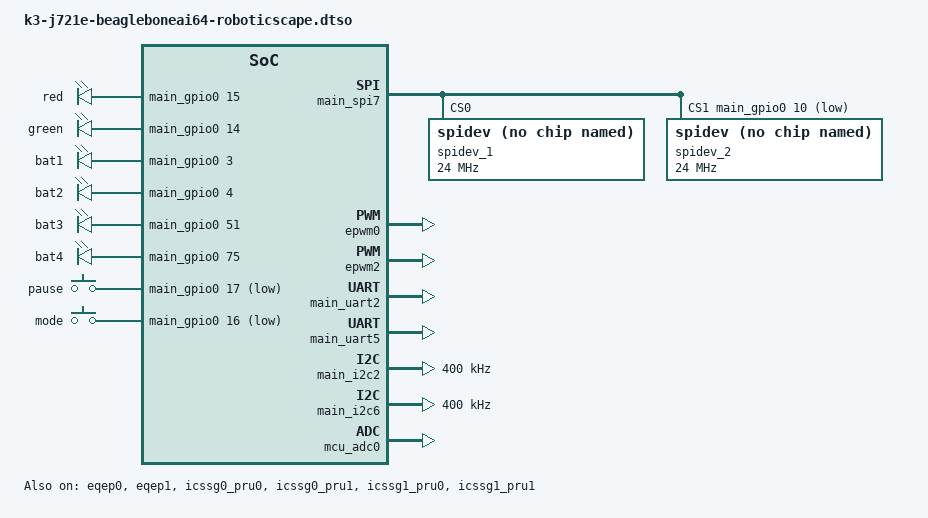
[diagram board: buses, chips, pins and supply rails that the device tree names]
/dts-v1/;
/plugin/;

#include <dt-bindings/pinctrl/k3.h>
#include <dt-bindings/gpio/gpio.h>
#include <dt-bindings/input/input.h>

/ {
    /* 1. LED SUBSYSTEM (adds pins to /sys/class/leds/) */
    cape_leds {
        compatible = "gpio-leds";
        pinctrl-names = "default";
        pinctrl-0 = <&cape_led_pins>;

        led_red {
            label = "red";
            gpios = <&main_gpio0 15 GPIO_ACTIVE_HIGH>; /* P8_7 */
            default-state = "off";
        };
        led_grn {
            label = "green";
            gpios = <&main_gpio0 14 GPIO_ACTIVE_HIGH>; /* P8_8 */
            default-state = "off";
        };
        led_bat1 {
            label = "bat1";
            gpios = <&main_gpio0 3 GPIO_ACTIVE_HIGH>; /* P8_17 */
            default-state = "off";
        };
        led_bat2 {
            label = "bat2";
            gpios = <&main_gpio0 4 GPIO_ACTIVE_HIGH>; /* P8_18 */
            default-state = "off";
        };
        led_bat3 {
            label = "bat3";
            gpios = <&main_gpio0 51 GPIO_ACTIVE_HIGH>; /* P8_26 */
            default-state = "off";
        };
        led_bat4 {
            label = "bat4";
            gpios = <&main_gpio0 75 GPIO_ACTIVE_HIGH>; /* P8_14 */
            default-state = "off";
        };
    };

    /* 2. BUTTONS SUBSYSTEM (Handles pins as keys) */
    cape_buttons {
        compatible = "gpio-keys";
        pinctrl-names = "default";
        pinctrl-0 = <&cape_btn_pins>;

        pause_btn {
            label = "pause";
            linux,code = <KEY_PAUSE>;
            gpios = <&main_gpio0 17 GPIO_ACTIVE_LOW>; /* P8_9 */
        };
        mode_btn {
            label = "mode";
            linux,code = <KEY_MODE>;
            gpios = <&main_gpio0 16 GPIO_ACTIVE_LOW>; /* P8_10 */
        };
    };
};

/* 3. PIN MULTIPLEXER (PINMUX) */
&main_pmx0 {
    /* LED mapping */
    cape_led_pins: cape-led-pins {
        pinctrl-single,pins = <
            J721E_IOPAD(0x03C, PIN_OUTPUT, 7) /* P8_7  (GPIO0_15) */
            J721E_IOPAD(0x038, PIN_OUTPUT, 7) /* P8_8  (GPIO0_14) */
            J721E_IOPAD(0x130, PIN_OUTPUT, 7) /* P8_14 (GPIO0_75) */
            J721E_IOPAD(0x00C, PIN_OUTPUT, 7) /* P8_17 (GPIO0_3)  */
            J721E_IOPAD(0x010, PIN_OUTPUT, 7) /* P8_18 (GPIO0_4)  */
            J721E_IOPAD(0x0D0, PIN_OUTPUT, 7) /* P8_26 (GPIO0_51) */
        >;
    };

    /* Button mapping */
    cape_btn_pins: cape-btn-pins {
        pinctrl-single,pins = <
            J721E_IOPAD(0x044, PIN_INPUT_PULLUP, 7) /* P8_9  (GPIO0_17) */
            J721E_IOPAD(0x040, PIN_INPUT_PULLUP, 7) /* P8_10 (GPIO0_16) */
        >;
    };

    /* SPI7 bus mapping (includes GPIO chip select) */
    cape_spi7_pins: cape-spi7-pins {
        pinctrl-single,pins = <
            J721E_IOPAD(0x230, PIN_OUTPUT, 6) /* P9_28: SPI7_CS0 */
            J721E_IOPAD(0x23C, PIN_INPUT,  6) /* P9_29: SPI7_D1 (MISO) */
            J721E_IOPAD(0x238, PIN_OUTPUT, 6) /* P9_30: SPI7_D0 (MOSI) */
            J721E_IOPAD(0x234, PIN_OUTPUT, 6) /* P9_31: SPI7_CLK */
            J721E_IOPAD(0x028, PIN_OUTPUT, 7) /* P9_23: GPIO0_10 (Soft CS2) */
        >;
    };
    
    /* PWM mapping */
    cape_epwm0_pins: cape-epwm0-pins {
        pinctrl-single,pins = <
            J721E_IOPAD(0x164, PIN_OUTPUT, 6) /* P8_19: EHRPWM0_A */
            J721E_IOPAD(0x168, PIN_OUTPUT, 6) /* P8_13: EHRPWM0_B */
        >;
    };

    cape_epwm2_pins: cape-epwm2-pins {
        pinctrl-single,pins = <
            J721E_IOPAD(0x178, PIN_OUTPUT, 6) /* P9_14: EHRPWM2_A */
            J721E_IOPAD(0x17C, PIN_OUTPUT, 6) /* P9_16: EHRPWM2_B */
        >;
    };

    /* EQEP mapping */
    cape_eqep0_pins: cape-eqep0-pins {
        pinctrl-single,pins = <
            J721E_IOPAD(0x1F0, PIN_INPUT,  5) /* P9_42: EQEP0_A */
            J721E_IOPAD(0x1F4, PIN_INPUT,  5) /* P9_27: EQEP0_B */
        >;
    };

    cape_eqep1_pins: cape-eqep1-pins {
        pinctrl-single,pins = <
            J721E_IOPAD(0x064, PIN_INPUT,  9) /* P8_35: EQEP1_A */
            J721E_IOPAD(0x068, PIN_INPUT,  9) /* P8_33: EQEP1_B */
        >;
    };

    /* UART2 bus mapping (connected to UART1 connector of the robotics cape) */
    cape_uart2_pins: cape-uart2-pins {
        pinctrl-single,pins = <
            J721E_IOPAD(0x1E0, PIN_OUTPUT, 3) /* P9_24: UART2_TXD */
            J721E_IOPAD(0x1DC, PIN_INPUT,  3) /* P9_26: UART2_RXD */
        >;
    };

    /* UART5 bus mapping */
    cape_uart5_pins: cape-uart5-pins {
        pinctrl-single,pins = <
            J721E_IOPAD(0x1AC, PIN_OUTPUT, 3) /* P8_37: UART5_TXD */
            J721E_IOPAD(0x1A8, PIN_INPUT,  3) /* P8_38: UART5_RXD */
        >;
    };

    /* I2C2 bus mapping (connected to IMU and barometer) */
    cape_i2c2_pins: cape-i2c2-pins {
        pinctrl-single,pins = <
            J721E_IOPAD(0x208, PIN_INPUT,  4) /* P9_19: I2C2_SCL */
            J721E_IOPAD(0x20C, PIN_INPUT,  4) /* P9_20: I2C2_SDA */
        >;
    };

    /* I2C6 bus mapping (connected to I2C connector of the robotics cape) */
    cape_i2c6_pins: cape-i2c6-pins {
        pinctrl-single,pins = <
            J721E_IOPAD(0x1D0, PIN_INPUT,  2) /* P9_17: I2C6_SCL */
            J721E_IOPAD(0x1E4, PIN_INPUT,  2) /* P9_18: I2C6_SDA */
        >;
    };

    /* Analog input mapping */
    cape_adc_pins: cape-adc-pins {
        pinctrl-single,pins = <
            J721E_IOPAD(0x148, PIN_INPUT,  0) /* P9_35: MCU_ADC_AIN6 */
            J721E_IOPAD(0x144, PIN_INPUT,  0) /* P9_36: MCU_ADC_AIN5 */
            J721E_IOPAD(0x138, PIN_INPUT,  0) /* P9_37: MCU_ADC_AIN2 */
            J721E_IOPAD(0x13C, PIN_INPUT,  0) /* P9_38: MCU_ADC_AIN3 */
            J721E_IOPAD(0x130, PIN_INPUT,  0) /* P9_39: MCU_ADC_AIN0 */
            J721E_IOPAD(0x134, PIN_INPUT,  0) /* P9_40: MCU_ADC_AIN1 */
        >;
    };

    /* PRU_IO mapping */
    cape_pru0_0_pins: cape-pru0_0-pins {
        pinctrl-single,pins = <
            J721E_IOPAD(0x0F4, PIN_INPUT,  1) /* P8_11: PRG0_PRU0_GPI17 (QEP_2B) */
            J721E_IOPAD(0x0F0, PIN_INPUT,  1) /* P8_12: PRG0_PRU0_GPI16 (QEP_2A) */
            J721E_IOPAD(0x0F8, PIN_INPUT,  1) /* P8_15: PRG0_PRU0_GPI18 (QEP_4B) */
            J721E_IOPAD(0x0FC, PIN_INPUT,  1) /* P8_16: PRG0_PRU0_GPI19 (QEP_4A) */
        >;
    };

    cape_pru0_1_pins: cape-pru0_1-pins {
        pinctrl-single,pins = <
            J721E_IOPAD(0x120, PIN_OUTPUT, 0) /* P8_27: PRG0_PRU1_GPO8 (SVO1) */
            J721E_IOPAD(0x124, PIN_OUTPUT, 0) /* P8_28: PRG0_PRU1_GPO9 (SVO2) */
            J721E_IOPAD(0x128, PIN_OUTPUT, 0) /* P8_29: PRG0_PRU1_GPO10 (SVO3) */
            J721E_IOPAD(0x12C, PIN_OUTPUT, 0) /* P8_30: PRG0_PRU1_GPO11 (SVO4) */
            J721E_IOPAD(0x118, PIN_OUTPUT, 0) /* P8_39: PRG0_PRU1_GPO6 (SVO5) */
            J721E_IOPAD(0x11C, PIN_OUTPUT, 0) /* P8_40: PRG0_PRU1_GPO7 (SVO6) */
            J721E_IOPAD(0x110, PIN_OUTPUT, 0) /* P8_41: PRG0_PRU1_GPO4 (SVO7) */
            J721E_IOPAD(0x114, PIN_OUTPUT, 0) /* P8_42: PRG0_PRU1_GPO5 (SVO8) */
        >;
    };

    cape_pru1_0_pins: cape-pru1_0-pins {
        pinctrl-single,pins = <
            J721E_IOPAD(0x004, PIN_INPUT,  1) /* P9_11: PRG1_PRU0_GPI0 (UART4_RX) */
        >;
    };

    cape_pru1_1_pins: cape-pru1_1-pins {
        pinctrl-single,pins = <
            J721E_IOPAD(0x0A0, PIN_OUTPUT, 0) /* P9_21: PRG1_PRU1_GPO18 (UART2_TX) */
            J721E_IOPAD(0x09C, PIN_INPUT,  1) /* P9_22: PRG1_PRU1_GPI17 (UART2_RX) */
        >;
    };

    /* Other GPIO pins mapping */
    cape_gpio_pins: cape-gpio-pins {
        pinctrl-single,pins = <
            J721E_IOPAD(0x01C, PIN_OUTPUT, 7) /* P8_34: GPIO0_7 (MDIR_2B) */
            J721E_IOPAD(0x020, PIN_OUTPUT, 7) /* P8_36: GPIO0_8 (SERVO_EN) */
            J721E_IOPAD(0x108, PIN_OUTPUT, 7) /* P8_43: GPIO0_65 (MDIR_3B) */
            J721E_IOPAD(0x10C, PIN_OUTPUT, 7) /* P8_44: GPIO0_66 (MDIR_3A) */
            J721E_IOPAD(0x140, PIN_OUTPUT, 7) /* P8_45: GPIO0_79 (MDIR_4A) */
            J721E_IOPAD(0x144, PIN_OUTPUT, 7) /* P8_46: GPIO0_80 (MDIR_4B) */
            J721E_IOPAD(0x0B8, PIN_OUTPUT, 7) /* P9_12: GPIO0_45 (MDIR_1A) */
            J721E_IOPAD(0x008, PIN_OUTPUT, 7) /* P9_13: GPIO0_2 (MDIR_1B) */
            J721E_IOPAD(0x0C0, PIN_OUTPUT, 7) /* P9_15: GPIO0_47 (MDIR_2A) */
            J721E_IOPAD(0x200, PIN_INPUT, 7) /* P9_25: GPIO0_127 (IMU_INT) */
            J721E_IOPAD(0x204, PIN_OUTPUT, 7) /* P9_41: GPIO1_0 (MOT_STBY) */
        >;
    };
};

/* 4. Hybrid SPI driver configuration */
&main_spi7 {
    status = "okay";
    pinctrl-names = "default";
    pinctrl-0 = <&cape_spi7_pins>;
    
    #address-cells = <1>;
    #size-cells = <0>;
    
    /* Configure CS1 on GPIO (P9_23) */
    cs-gpios = <0>, <&main_gpio0 10 GPIO_ACTIVE_LOW>;

    /* SS1 device (Hardware CS) */
    spidev_1: spidev@0 {
        compatible = "rohm,dh2228fv"; /* Generic driver for /dev/spidev7.0 */
        spi-max-frequency = <24000000>;
        reg = <0>;
    };

    /* SS2 device (Software CS) */
    spidev_2: spidev@1 {
        compatible = "rohm,dh2228fv"; /* Generic driver for /dev/spidev7.1 */
        spi-max-frequency = <24000000>;
        reg = <1>;
    };
};

&epwm0 {
    status = "okay";
    pinctrl-names = "default";
    pinctrl-0 = <&cape_epwm0_pins>;
};

&epwm2 {
    status = "okay";
    pinctrl-names = "default";
    pinctrl-0 = <&cape_epwm2_pins>;
};

&eqep0 {
    status = "okay";
    pinctrl-names = "default";
    pinctrl-0 = <&cape_eqep0_pins>;
};

&eqep1 {
    status = "okay";
    pinctrl-names = "default";
    pinctrl-0 = <&cape_eqep1_pins>;
};

&main_uart2 {
    status = "okay";
    pinctrl-names = "default";
    pinctrl-0 = <&cape_uart2_pins>;
};

&main_uart5 {
    status = "okay";
    pinctrl-names = "default";
    pinctrl-0 = <&cape_uart5_pins>;
};

&main_i2c2 {
    status = "okay";
    pinctrl-names = "default";
    pinctrl-0 = <&cape_i2c2_pins>;
    clock-frequency = <400000>; /* Recommended I2C speed for IMU sensors */
};

&main_i2c6 {
    status = "okay";
    pinctrl-names = "default";
    pinctrl-0 = <&cape_i2c6_pins>;
    clock-frequency = <400000>;
};

&mcu_adc0 {
    status = "okay";
    pinctrl-names = "default";
    pinctrl-0 = <&cape_adc_pins>;
};

/*  Cluster 0 PRU 0 (Soft-Encoders QEP_2 and QEP_4) */
&icssg0_pru0 {
    status = "okay";
    pinctrl-names = "default";
    pinctrl-0 = <&cape_pru0_0_pins>;
};

/* Cluster 0 PRU 1 (Servos 1-8) */
&icssg0_pru1 {
    status = "okay";
    pinctrl-names = "default";
    pinctrl-0 = <&cape_pru0_1_pins>;
};

/* Cluster 1 PRU 0 (Soft-UART4 RX) */
&icssg1_pru0 {
    status = "okay";
    pinctrl-names = "default";
    pinctrl-0 = <&cape_pru1_0_pins>;
};

/* Cluster 1 PRU 1 (Soft-UART2 TX/RX) */
&icssg1_pru1 {
    status = "okay";
    pinctrl-names = "default";
    pinctrl-0 = <&cape_pru1_1_pins>;
};
